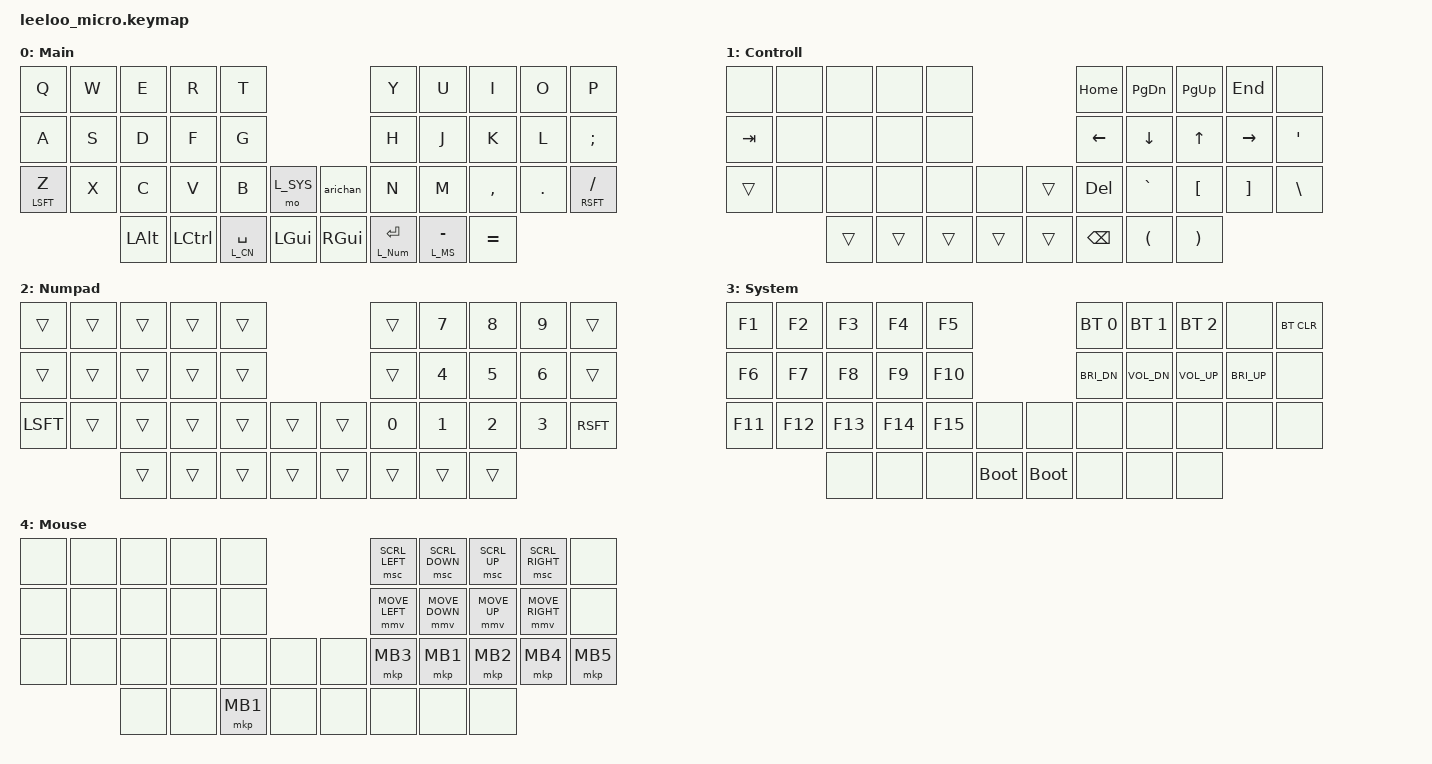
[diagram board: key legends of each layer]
/*
 * Copyright (c) 2022 The ZMK Contributors
 * SPDX-License-Identifier: MIT
 */

#define ZMK_POINTING_DEFAULT_MOVE_VAL 1500 // default: 600
#define ZMK_POINTING_DEFAULT_SCRL_VAL 20   // default: 10

#include <behaviors.dtsi>
#include <dt-bindings/zmk/outputs.h>
#include <dt-bindings/zmk/keys.h>
#include <dt-bindings/zmk/bt.h>
#include <dt-bindings/zmk/pointing.h>

// Layers
#define L_Main 0 // Main
#define L_CN   1 // Controll
#define L_Num  2 // Numpad
#define L_SYS  3 // System
#define L_MS   4 // Mouse

#define VOL_UP C_VOL_UP
#define VOL_DN C_VOL_DN
#define BRI_UP C_BRIGHTNESS_INC
#define BRI_DN C_BRIGHTNESS_DEC

/*
 * Assign the cs-gpios pin to 4.
 * Uncomment these next three lines if implementing nice!view Displays.
 */
&nice_view_spi {
    cs-gpios = <&pro_micro 4 GPIO_ACTIVE_HIGH>;
};


/ {
// ==============================================
    combos {
// ----------------------------------------------
        compatible = "zmk,combos";

        // Q+W := ESC
        combo_esc {
            timeout-ms = <50>;
            key-positions = <0 1>;
            layers = <L_Main>;
            bindings = <&kp ESC>;
        };

        // J+K := BSPC
        combo_bspc {
            timeout-ms = <50>;
            key-positions = <16 17>;
            layers = <L_Main>;
      bindings = <&kp BSPC>;
        };
    };


// =============================================
    macros {
// ----------------------------------------------
        arichan: arichan {
            display-name = "arichan";
            compatible = "zmk,behavior-macro";
            #binding-cells = <0>;
            wait-ms = <0>;
            tap-ms = <0>;
            bindings
                = <&kp K &kp R &kp Z &kp M &kp K &kp N &kp T &kp RETURN>
                ;
        };
    };


// ==============================================
    behaviors {
// ----------------------------------------------
        tp: hold_tap_tap_preferred {
            compatible = "zmk,behavior-hold-tap";
            #binding-cells = <2>;
            flavor = "tap-preferred";
            tapping-term-ms = <300>;
            quick-tap-ms = <200>;
            bindings = <&kp>, <&kp>;
        };
    };


// ==============================================
    keymap {
// ----------------------------------------------
        compatible = "zmk,keymap";

// ==============================================
        main_layer {
            display-name = " Main";
            bindings = <
// ┌──────────────┬──────────────┬──────────────┬──────────────┬──────────────┬──────────────┐       ┌──────────────┬──────────────┬──────────────┬──────────────┬──────────────┬──────────────┐
// │    Q(0)      │    W(1)      │    E(2)      │    R(3)      │    T(4)      │              │       │              │    Y(5)      │    U(6)      │    I(7)      │    O(8)      │    P(9)      │
    &kp Q          &kp W          &kp E          &kp R          &kp T                                                &kp Y          &kp U          &kp I          &kp O          &kp P
// │              │              │              │              │              │              │       │              │              │              │              │              │              │
// │   A(10)      │   S(11)      │    D(12)     │   F(13)      │   G(14)      │              │       │              │   H(15)      │   J(16)      │   K(17)      │   L(18)      │   ;(19)      │
    &kp A          &kp S          &kp D          &kp F          &kp G                                                &kp H          &kp J          &kp K          &kp L          &kp SEMI
// │              │              │              │              │              │              │       │              │              │              │              │              │              │
// │   Z(20)      │   X(21)      │   C(22)      │   V(23)      │   B(24)      │   ♡(25)      │       │  BSP(26)     │   N(27)      │   M(28)      │   ,(29)      │   .(30)      │   /(31)      │
    &tp LSFT Z     &kp X          &kp C          &kp V          &kp B          &mo L_SYS              &arichan       &kp N          &kp M          &kp COMMA      &kp DOT        &tp RSFT FSLH
// └──────────────┴──────────────┤              │              │              │              │       │              │              │              │              ├──────────────┴──────────────┘
//                               │   `(32)      │  CTRL(33)    │ SPACE(34)    │  CMD(35)     │       │  INF(36)     │  RET(37)     │   ↓(38)      │   ↑(38)      │
                                  &kp LALT       &kp LCTRL      &lt L_CN SPACE &kp LGUI               &kp RGUI       &lt L_Num RETURN &lt L_MS MINUS &kp EQUAL
//                               └──────────────┴──────────────┴──────────────┴──────────────┘       └──────────────┴──────────────┴──────────────┴──────────────┘
            >;
        };


// ==============================================
        controll_layer {
            display-name = " Controll";
            bindings = <
// ┌──────────────┬──────────────┬──────────────┬──────────────┬──────────────┬──────────────┐       ┌──────────────┬──────────────┬──────────────┬──────────────┬──────────────┬──────────────┐
// │    Q(0)      │    W(1)      │    E(2)      │    R(3)      │    T(4)      │              │       │              │    Y(5)      │    U(6)      │    I(7)      │    O(8)      │    P(9)      │
    &none          &none          &none          &none          &none                                                &kp HOME       &kp PG_DN      &kp PG_UP      &kp END        &none
// │              │              │              │              │              │              │       │              │              │              │              │              │              │
// │   A(10)      │   S(11)      │    D(12)     │   F(13)      │   G(14)      │              │       │              │   H(15)      │   J(16)      │   K(17)      │   L(18)      │   ;(19)      │
    &kp TAB        &none          &none          &none          &none                                                &kp LEFT       &kp DOWN       &kp UP         &kp RIGHT      &kp APOS
// │              │              │              │              │              │              │       │              │              │              │              │              │              │
// │   Z(20)      │   X(21)      │   C(22)      │   V(23)      │   B(24)      │   ♡(25)      │       │  BSP(26)     │   N(27)      │   M(28)      │   ,(29)      │   .(30)      │   /(31)      │
    &trans         &none          &none          &none          &none          &none                  &trans         &kp DELETE     &kp GRAVE      &kp LBKT       &kp RBKT       &kp BSLH
// └──────────────┴──────────────┤              │              │              │              │       │              │              │              │              ├──────────────┴──────────────┘
//                               │   `(32)      │  CTRL(33)    │ SPACE(34)    │  CMD(35)     │       │  INF(36)     │  RET(37)     │   ↓(38)      │   ↑(38)      │
                                  &trans         &trans         &trans         &trans                 &trans         &kp BSPC       &kp LPAR       &kp RPAR
//                               └──────────────┴──────────────┴──────────────┴──────────────┘       └──────────────┴──────────────┴──────────────┴──────────────┘
            >;
        };


// ==============================================
        numpad_layer {
            display-name = " Numpad";
            bindings = <
// ┌──────────────┬──────────────┬──────────────┬──────────────┬──────────────┬──────────────┐       ┌──────────────┬──────────────┬──────────────┬──────────────┬──────────────┬──────────────┐
// │    Q(0)      │    W(1)      │    E(2)      │    R(3)      │    T(4)      │              │       │              │    Y(5)      │    U(6)      │    I(7)      │    O(8)      │    P(9)      │
    &trans         &trans         &trans         &trans         &trans                                               &trans         &kp NUMBER_7   &kp NUMBER_8   &kp NUMBER_9   &trans
// │              │              │              │              │              │              │       │              │              │              │              │              │              │
// │   A(10)      │   S(11)      │    D(12)     │   F(13)      │   G(14)      │              │       │              │   H(15)      │   J(16)      │   K(17)      │   L(18)      │   ;(19)      │
    &trans         &trans         &trans         &trans         &trans                                               &trans         &kp NUMBER_4   &kp NUMBER_5   &kp NUMBER_6   &trans
// │              │              │              │              │              │              │       │              │              │              │              │              │              │
// │   Z(20)      │   X(21)      │   C(22)      │   V(23)      │   B(24)      │   ♡(25)      │       │  BSP(26)     │   N(27)      │   M(28)      │   ,(29)      │   .(30)      │   /(31)      │
    &kp LSFT       &trans         &trans         &trans         &trans         &trans                 &trans         &kp NUMBER_0   &kp NUMBER_1   &kp NUMBER_2   &kp NUMBER_3   &kp RSFT
// └──────────────┴──────────────┤              │              │              │              │       │              │              │              │              ├──────────────┴──────────────┘
//                               │   `(32)      │  CTRL(33)    │ SPACE(34)    │  CMD(35)     │       │  INF(36)     │  RET(37)     │   ↓(38)      │   ↑(38)      │
                                  &trans         &trans         &trans         &trans                 &trans         &trans         &trans         &trans
//                               └──────────────┴──────────────┴──────────────┴──────────────┘       └──────────────┴──────────────┴──────────────┴──────────────┘
            >;
        };


// ==============================================
        system_layer {
            display-name = " System";
            bindings = <
// ┌──────────────┬──────────────┬──────────────┬──────────────┬──────────────┬──────────────┐       ┌──────────────┬──────────────┬──────────────┬──────────────┬──────────────┬──────────────┐
// │    Q(0)      │    W(1)      │    E(2)      │    R(3)      │    T(4)      │              │       │              │    Y(5)      │    U(6)      │    I(7)      │    O(8)      │    P(9)      │
    &kp F1         &kp F2         &kp F3         &kp F4         &kp F5                                               &bt BT_SEL 0   &bt BT_SEL 1   &bt BT_SEL 2   &none          &bt BT_CLR
// │              │              │              │              │              │              │       │              │              │              │              │              │              │
// │   A(10)      │   S(11)      │    D(12)     │   F(13)      │   G(14)      │              │       │              │   H(15)      │   J(16)      │   K(17)      │   L(18)      │   ;(19)      │
    &kp F6         &kp F7         &kp F8         &kp F9         &kp F10                                              &kp C_BRI_DN   &kp C_VOL_DN   &kp C_VOL_UP   &kp C_BRI_UP   &none
// │              │              │              │              │              │              │       │              │              │              │              │              │              │
// │   Z(20)      │   X(21)      │   C(22)      │   V(23)      │   B(24)      │   ♡(25)      │       │  BSP(26)     │   N(27)      │   M(28)      │   ,(29)      │   .(30)      │   /(31)      │
    &kp F11        &kp F12        &kp F13        &kp F14        &kp F15        &none                  &none          &none          &none          &none          &none          &none
// └──────────────┴──────────────┤              │              │              │              │       │              │              │              │              ├──────────────┴──────────────┘
//                               │   `(32)      │  CTRL(33)    │ SPACE(34)    │  CMD(35)     │       │  INF(36)     │  RET(37)     │   ↓(38)      │   ↑(38)      │
                                  &none          &none          &none          &bootloader            &bootloader    &none          &none          &none
//                               └──────────────┴──────────────┴──────────────┴──────────────┘       └──────────────┴──────────────┴──────────────┴──────────────┘
            >;
        };


// ==============================================
        mouse_layer {
            display-name = " Mouse";
            bindings = <
// ┌──────────────┬──────────────┬──────────────┬──────────────┬──────────────┬──────────────┐       ┌──────────────┬──────────────┬──────────────┬──────────────┬──────────────┬──────────────┐
// │    Q(0)      │    W(1)      │    E(2)      │    R(3)      │    T(4)      │              │       │              │    Y(5)      │    U(6)      │    I(7)      │    O(8)      │    P(9)      │
    &none          &none          &none         &none           &none                                                &msc SCRL_LEFT &msc SCRL_DOWN &msc SCRL_UP   &msc SCRL_RIGHT &none
// │              │              │              │              │              │              │       │              │              │              │              │              │              │
// │   A(10)      │   S(11)      │    D(12)     │   F(13)      │   G(14)      │              │       │              │   H(15)      │   J(16)      │   K(17)      │   L(18)      │   ;(19)      │
    &none          &none          &none         &none           &none                                                &mmv MOVE_LEFT &mmv MOVE_DOWN &mmv MOVE_UP   &mmv MOVE_RIGHT &none
// │              │              │              │              │              │              │       │              │              │              │              │              │              │
// │   Z(20)      │   X(21)      │   C(22)      │   V(23)      │   B(24)      │   ♡(25)      │       │  BSP(26)     │   N(27)      │   M(28)      │   ,(29)      │   .(30)      │   /(31)      │
    &none          &none          &none          &none          &none          &none                  &none          &mkp MB3       &mkp MB1       &mkp MB2       &mkp MB4       &mkp MB5
// └──────────────┴──────────────┤              │              │              │              │       │              │              │              │              ├──────────────┴──────────────┘
//                               │   `(32)      │  CTRL(33)    │ SPACE(34)    │  CMD(35)     │       │  INF(36)     │  RET(37)     │   ↓(38)      │   ↑(38)      │
                                  &none          &none          &mkp MB1       &none                  &none          &none          &none          &none
//                               └──────────────┴──────────────┴──────────────┴──────────────┘       └──────────────┴──────────────┴──────────────┴──────────────┘
            >;
        };
    };
};
